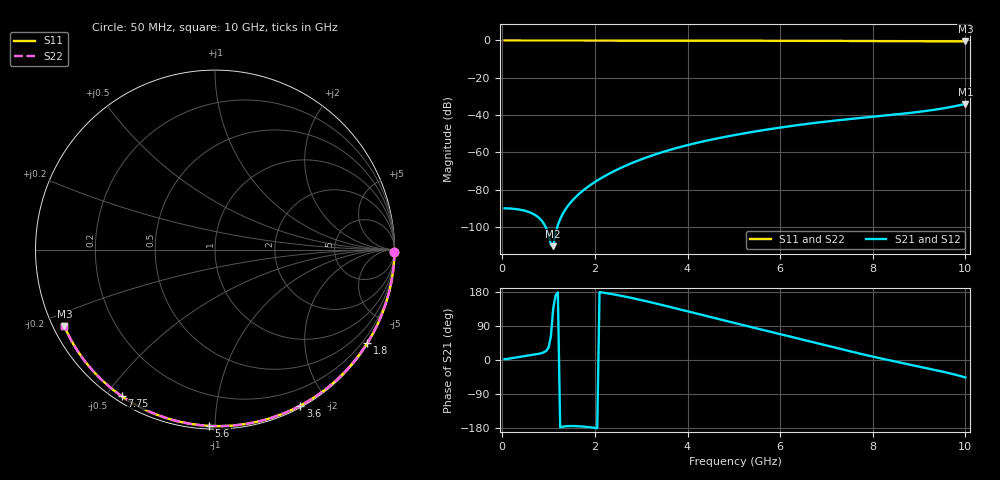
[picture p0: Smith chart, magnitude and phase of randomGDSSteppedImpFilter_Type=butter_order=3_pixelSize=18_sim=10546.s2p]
! freq	dB(S11)	phase(S11)	dB(S12)	phase(S12)
!  dB(S21)	phase(S21)	dB(S22)	phase(S22)
!S-par simulation data
#  GHz  S  DB  R 50
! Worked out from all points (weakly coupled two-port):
!   200 points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, 50 MHz to 10 GHz, reference 50 ohm
!   highest |S21| = -34.03 dB at 10 GHz (marker M1); lowest = -110.3 dB at 1.1 GHz (marker M2)
!   lowest |S11| = -0.5 dB at 10 GHz (marker M3), VSWR 33.39, Z = 1.58 - j12 ohm
!   |S11| at or under -10 dB: nowhere
!   |S22| runs from -0.5 to 0.0 dB; largest |S21 - S12| = 0
!   S11 on the Smith chart (normalised r, x): 50 MHz: open; 1.8 GHz: 0.03, -3.55; 3.6 GHz: 0.02, -1.69; 5.6 GHz: 0.02, -0.97; 7.75 GHz: 0.02, -0.55; 10 GHz: 0.03, -0.24
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0.05  -0.00 -0.9  -89.99 2.1  -89.99 2.1  -0.00 -0.9
0.55  -0.01 -9.8  -91.78 11.5  -91.78 11.5  -0.01 -9.8
1.1  -0.02 -19.4  -110.30 136.5  -110.30 136.5  -0.02 -19.4
1.75  -0.04 -30.6  -80.34 -175.8  -80.34 -175.8  -0.04 -30.6
1.8  -0.04 -31.5  -79.37 -176.3  -79.37 -176.3  -0.04 -31.5
1.95  -0.04 -34.0  -76.70 -178.3  -76.70 -178.3  -0.04 -34.0
2.1  -0.05 -36.6  -74.34 179.2  -74.34 179.2  -0.05 -36.6
2.3  -0.05 -40.0  -71.53 175.4  -71.53 175.4  -0.05 -40.0
2.5  -0.06 -43.3  -69.03 171.0  -69.03 171.0  -0.06 -43.3
2.95  -0.07 -50.8  -64.23 159.6  -64.23 159.6  -0.07 -50.8
3.4  -0.08 -58.1  -60.31 146.7  -60.31 146.7  -0.08 -58.1
3.6  -0.08 -61.3  -58.80 140.7  -58.80 140.7  -0.08 -61.3
4.25  -0.10 -71.6  -54.62 120.8  -54.62 120.8  -0.10 -71.6
5.05  -0.13 -83.8  -50.57 96.6  -50.57 96.6  -0.13 -83.8
5.6  -0.15 -91.9  -48.23 80.2  -48.23 80.2  -0.15 -91.9
6.15  -0.18 -99.9  -46.17 63.6  -46.17 63.6  -0.18 -99.9
6.7  -0.21 -107.7  -44.36 47.0  -44.36 47.0  -0.21 -107.8
7.75  -0.28 -122.4  -41.52 16.0  -41.52 16.0  -0.28 -122.4
8.35  -0.33 -130.6  -40.06 -0.5  -40.06 -0.5  -0.33 -130.6
9.3  -0.43 -143.5  -37.27 -25.1  -37.27 -25.1  -0.43 -143.5
9.65  -0.47 -148.3  -35.84 -34.8  -35.84 -34.8  -0.48 -148.3
10  -0.52 -153.0  -34.03 -46.2  -34.03 -46.2  -0.52 -153.1
